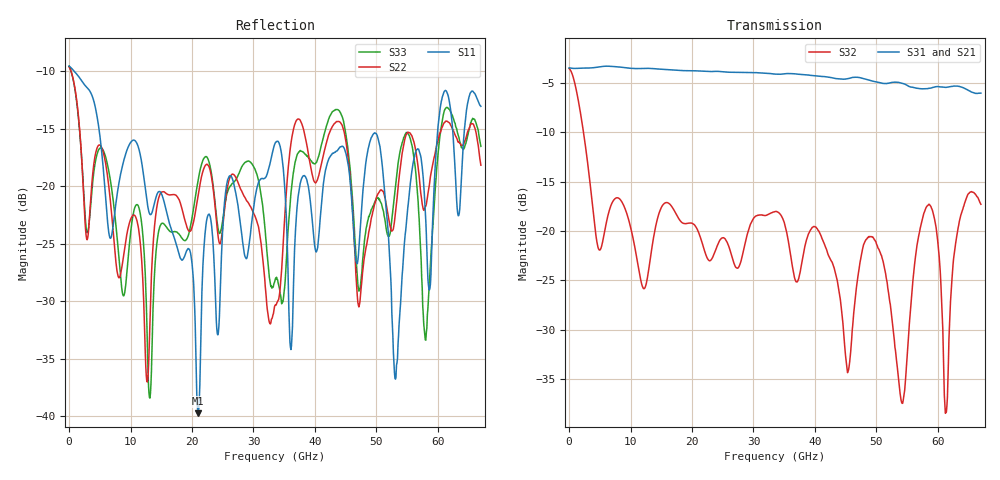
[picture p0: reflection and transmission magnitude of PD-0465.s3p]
! MARKI MICROWAVE INC.
! Email:  info@markimicrowave.com  Phone:  408-778-4200
! Model Number:  PD0465  Date:  05/15
! Filename:		PD-0465.S3P  Version: 1.0
! Description:  3-port S-parameter data for Power Divider PD-0465
! Measured Frequency: 	10 MHz to 67 GHz
! Port Configuration:	PORT 1: COMMON, PORT 2 and Port 3: Output
! S3P File: Measurements: Mag<S11> Ang<S11> Mag<S12> Ang<S12> Mag<S13> Ang<S13>! row 1
!  Mag<S21> Ang<S21> Mag<S22> Ang<S22> Mag<S23> Ang<S23>! row 2
!  Mag<S31> Ang<S31> Mag<S32> Ang<S32> Mag<S33> Ang<S33>! row 3
# Hz S  dB  R 50
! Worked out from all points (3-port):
!   801 points, 10 MHz to 67 GHz, reference 50 ohm
!   strongest paths, dB at 10 MHz, 16.76 GHz, 33.51 GHz, 50.25 GHz, 67 GHz:
!     S31: -3.5, -3.7, -4.1, -5.0, -6.1
!     S21: -3.5, -3.7, -4.1, -4.9, -6.1
!     S32: -3.6, -17.6, -18.0, -21.7, -17.3
!   lowest |S11| = -39.8 dB at 21.03 GHz (marker M1), VSWR 1.02, Z = 49.8 - j1 ohm
!   |S11| at or under -10 dB: 862.4 MHz to end of sweep
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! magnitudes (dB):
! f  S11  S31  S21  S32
! 10 MHz  -9.5  -3.5  -3.5  -3.6
! 13.07 GHz  -22.4  -3.6  -3.5  -23.4
! 21.03 GHz  -39.8  -3.8  -3.7  -20.1
! 33.51 GHz  -16.3  -4.1  -4.1  -18.0
! 36.1 GHz  -34.2  -4.1  -4.1  -22.7
! 50 GHz  -15.4  -4.9  -4.8  -21.3
! 53.1 GHz  -36.8  -5.0  -4.9  -32.1
! 58.71 GHz  -28.9  -5.6  -5.5  -17.4
! 61.31 GHz  -11.7  -5.5  -5.5  -38.4
! 67 GHz  -13.0  -6.1  -6.1  -17.3
